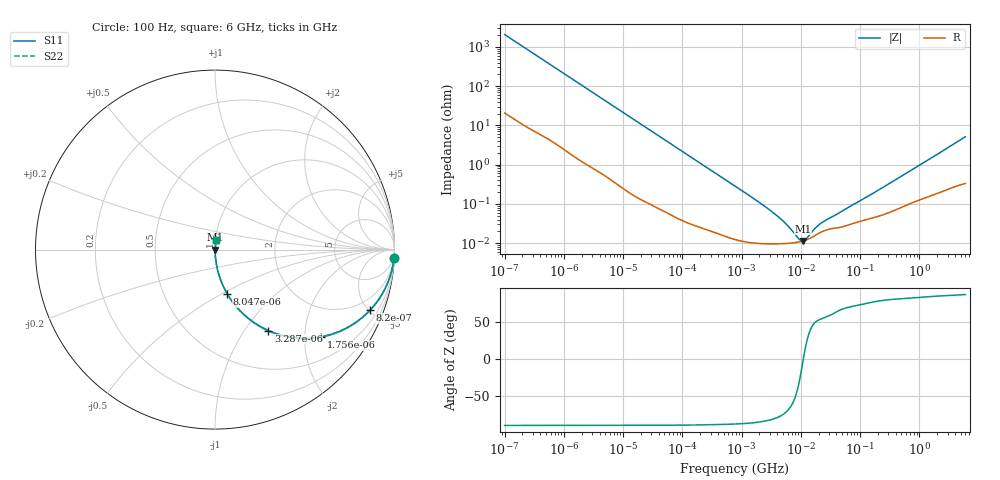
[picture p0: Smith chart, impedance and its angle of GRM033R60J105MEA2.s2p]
!Murata Part Number: GRM033R60J105MEA2
!These Parameters are Measured in Series Mode Connection
!Data Generated on Mar 30, 2021
!  o--ll--o
!Port1  Port2
!  o------o
!Operation Temp=25[degC], DC Bias Voltage=0[V]
!Freq. Start=100[Hz] Stop=6[GHz] 401[Steps]
# Hz S RI R 50
!Freq.(Hz) S11(Real) S11(Imag) S21(Real) S21(Imag) S12(Real) S12(Imag) S22(Real) S22(Imag)
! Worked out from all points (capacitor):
!   401 points, 100 Hz to 6 GHz, reference 50 ohm
!   read as one part in series: C = 766 nF near 109 Hz
!   lowest |Z| = 11.4 mohm at 10.87 MHz (marker M1)
!   series resonance near 11.04 MHz, so ESL is about 270 pH
!   S11 on the Smith chart (normalised r, x): 100 Hz: 1, -41; 820 Hz: 1.06, -5.13; 1.756 kHz: 1.03, -2.41; 3.287 kHz: 1.02, -1.29; 8.047 kHz: 1.01, -0.53; 6 GHz: 1.01, +0.10
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100  0.9972 -0.0481  0.0028 0.0481  0.0028 0.0481  0.9972 -0.0481
293  0.9793 -0.1373  0.0207 0.1373  0.0207 0.1373  0.9793 -0.1373
524  0.9387 -0.2341  0.0613 0.2341  0.0613 0.2341  0.9387 -0.2341
820  0.8651 -0.3358  0.1349 0.3358  0.1349 0.3358  0.8651 -0.3358
1174  0.7611 -0.4207  0.2389 0.4207  0.2389 0.4207  0.7611 -0.4207
1756  0.5909 -0.4861  0.4091 0.4861  0.4091 0.4861  0.5909 -0.4861
2008  0.526 -0.4937  0.474 0.4937  0.474 0.4937  0.526 -0.4937
3287  0.2968 -0.451  0.7032 0.451  0.7032 0.451  0.2968 -0.451
5143  0.1496 -0.3508  0.8504 0.3508  0.8504 0.3508  0.1496 -0.3508
8047  0.0685 -0.2469  0.9315 0.2469  0.9315 0.2469  0.0685 -0.2469
17227  0.0167 -0.1225  0.9833 0.1225  0.9833 0.1225  0.0167 -0.1225
40335  0.00361 -0.0534  0.9964 0.0534  0.9964 0.0534  0.00361 -0.0534
774597  0.000132 -0.00286  0.9999 0.00286  0.9999 0.00286  0.000132 -0.00286
3712478  9.61e-05 -0.000534  0.9999 0.000534  0.9999 0.000534  9.61e-05 -0.000534
5809218  9.84e-05 -0.000278  0.9999 0.000278  0.9999 0.000278  9.84e-05 -0.000278
9090158  0.000107 -7.89e-05  0.9999 7.89e-05  0.9999 7.89e-05  0.000107 -7.89e-05
1.087309e7  0.000114 -6.2e-06  0.9999 6.2e-06  0.9999 6.2e-06  0.000114 -6.2e-06
1.243624e7  0.000122 4.76e-05  0.9999 -4.76e-05  0.9999 -4.76e-05  0.000122 4.76e-05
1.555665e7  0.000142 0.000137  0.9999 -0.000137  0.9999 -0.000137  0.000142 0.000137
2.434276e7  0.000205 0.000292  0.9998 -0.000292  0.9998 -0.000292  0.000205 0.000292
3.124326e8  0.000615 0.00325  0.9994 -0.00325  0.9994 -0.00325  0.000615 0.00325
6e9  0.00593 0.0511  0.9941 -0.0511  0.9941 -0.0511  0.00593 0.0511
